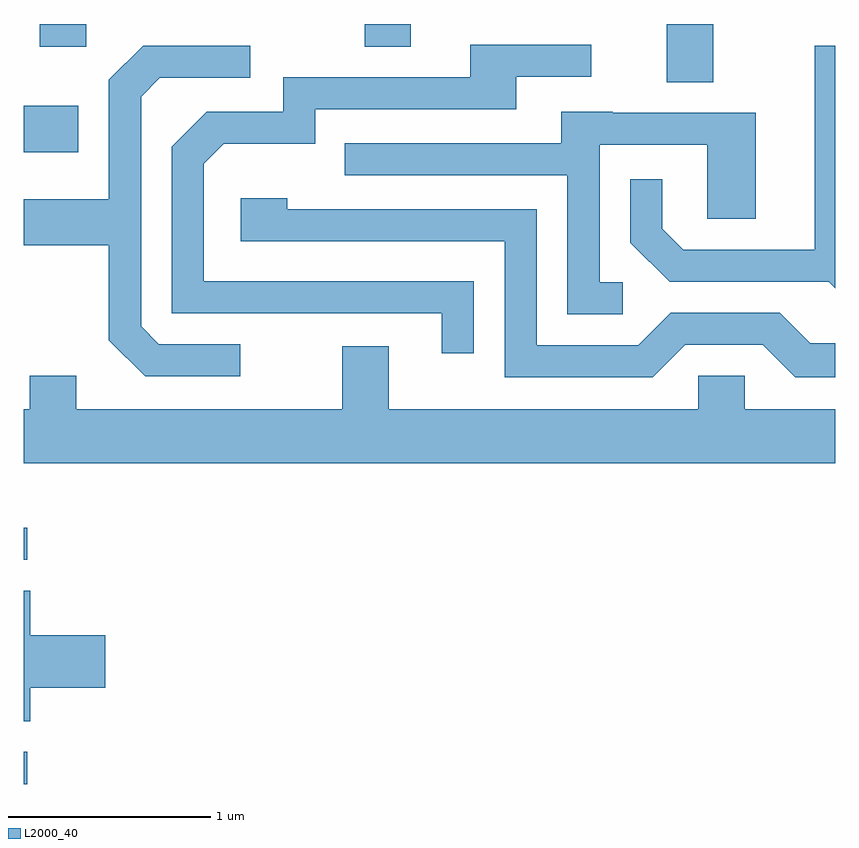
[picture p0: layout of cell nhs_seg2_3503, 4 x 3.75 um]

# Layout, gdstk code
import gdstk
lib = gdstk.Library(unit=1e-6, precision=1e-09)
def R(c, l, rs):  # rectangles x0, y0, x1, y1
    for r in rs: c.add(gdstk.rectangle(r[:2], r[2:], *l))
def P(c, l, *ps):  # polygons
    for p in ps: c.add(gdstk.Polygon(p, *l))
L2000_40 = (2000, 40)

nhs_seg2_3503 = lib.new_cell('nhs_seg2_3503')
R(nhs_seg2_3503, L2000_40, [(287.611,1060.056,287.628,1060.214), (287.611,1061.161,287.628,1061.319), (287.611,1063.171,287.879,1063.399), (290.781,1063.516,291.009,1063.802), (287.691,1063.691,287.919,1063.802), (289.291,1063.691,289.519,1063.802)])
P(nhs_seg2_3503, L2000_40, [(289.829,1062.534),(288.499,1062.534),(288.499,1063.114),(288.597,1063.211),(289.049,1063.211),(289.049,1063.381),(290.039,1063.381),(290.039,1063.541),(290.408,1063.541),(290.408,1063.699),(289.811,1063.699),(289.811,1063.539),(288.891,1063.539),(288.891,1063.369),(288.514,1063.369),(288.341,1063.197),(288.341,1062.376),(289.671,1062.376),(289.671,1062.178),(289.829,1062.178)],
  [(291.611,1063.694),(291.511,1063.694),(291.511,1062.689),(290.862,1062.689),(290.759,1062.792),(290.759,1063.038),(290.601,1063.038),(290.601,1062.724),(290.794,1062.531),(291.579,1062.531),(291.611,1062.499)],
  [(288.678,1062.224),(288.277,1062.224),(288.189,1062.312),(288.189,1063.444),(288.282,1063.536),(288.728,1063.536),(288.728,1063.694),(288.199,1063.694),(288.031,1063.527),(288.031,1062.939),(287.611,1062.939),(287.611,1062.711),(288.031,1062.711),(288.031,1062.244),(288.209,1062.066),(288.678,1062.066)],
  [(290.563,1062.529),(290.449,1062.529),(290.449,1063.206),(290.981,1063.206),(290.981,1062.841),(291.219,1062.841),(291.219,1063.364),(290.515,1063.364),(290.515,1063.369),(290.261,1063.369),(290.261,1063.214),(289.193,1063.214),(289.193,1063.056),(290.291,1063.056),(290.291,1062.371),(290.563,1062.371)],
  [(290.872,1062.221),(291.254,1062.221),(291.414,1062.061),(291.611,1062.061),(291.611,1062.229),(291.487,1062.229),(291.337,1062.379),(290.799,1062.379),(290.639,1062.219),(290.139,1062.219),(290.139,1062.889),(288.909,1062.889),(288.909,1062.944),(288.681,1062.944),(288.681,1062.731),(289.981,1062.731),(289.981,1062.061),(290.712,1062.061)],
  [(291.611,1061.904),(291.164,1061.904),(291.164,1062.069),(290.936,1062.069),(290.936,1061.904),(289.409,1061.904),(289.409,1062.214),(289.181,1062.214),(289.181,1061.904),(287.869,1061.904),(287.869,1062.069),(287.641,1062.069),(287.641,1061.904),(287.611,1061.904),(287.611,1061.636),(291.611,1061.636)],
  [(287.644,1060.531),(288.014,1060.531),(288.014,1060.789),(287.644,1060.789),(287.644,1061.009),(287.611,1061.009),(287.611,1060.366),(287.644,1060.366)])

lib.write_gds('nhs_seg2_3503.gds')
